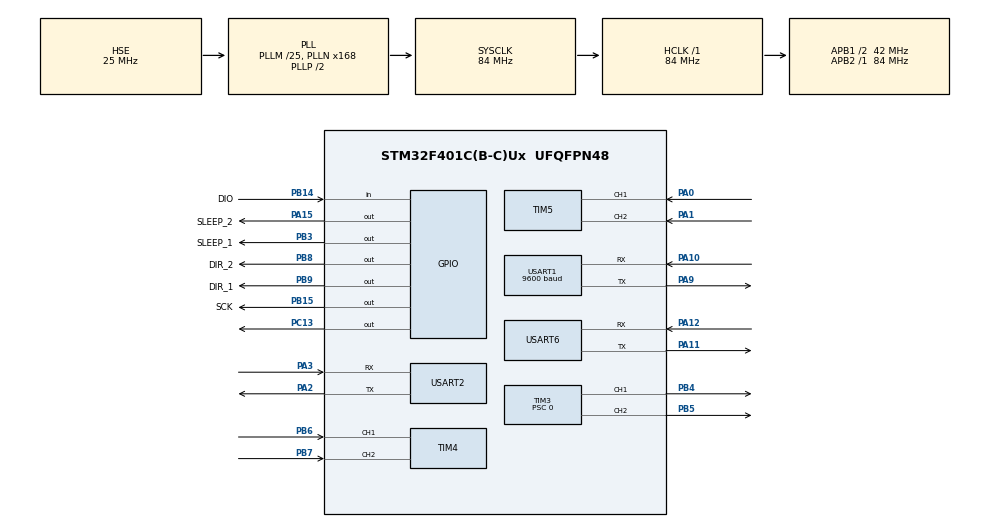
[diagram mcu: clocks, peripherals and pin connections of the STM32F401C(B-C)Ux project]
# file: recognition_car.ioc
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Mcu.Family=STM32F4
Mcu.Name=STM32F401C(B-C)Ux
Mcu.Package=UFQFPN48
NVIC.PriorityGroup=NVIC_PRIORITYGROUP_4
NVIC.TIM1_UP_TIM10_IRQn=true\:3\:0\:true\:false\:true\:true\:true
NVIC.TIM2_IRQn=true\:0\:0\:true\:false\:true\:true\:true
NVIC.USART1_IRQn=true\:5\:0\:true\:false\:true\:true\:true
NVIC.USART2_IRQn=true\:0\:0\:true\:false\:true\:true\:true
NVIC.USART6_IRQn=true\:0\:0\:true\:false\:true\:true\:true
PA0-WKUP.Signal=S_TIM5_CH1
PA1.Signal=S_TIM5_CH2
PA10.Mode=Asynchronous
PA10.Signal=USART1_RX
PA11.Mode=Asynchronous
PA11.Signal=USART6_TX
PA12.Mode=Asynchronous
PA12.Signal=USART6_RX
PA13.Mode=Serial_Wire
PA13.Signal=SYS_JTMS-SWDIO
PA14.Mode=Serial_Wire
PA14.Signal=SYS_JTCK-SWCLK
PA15.GPIO_Label=SLEEP_2
PA15.Signal=GPIO_Output
PA2.Mode=Asynchronous
PA2.Signal=USART2_TX
PA3.Mode=Asynchronous
PA3.Signal=USART2_RX
PA9.Mode=Asynchronous
PA9.Signal=USART1_TX
PB14.GPIO_Label=DIO
PB14.GPIO_PuPd=GPIO_PULLUP
PB14.Signal=GPIO_Input
PB15.GPIO_Label=SCK
PB15.GPIO_Speed=GPIO_SPEED_FREQ_HIGH
PB15.PinState=GPIO_PIN_SET
PB15.Signal=GPIO_Output
PB3.GPIO_Label=SLEEP_1
PB3.Signal=GPIO_Output
PB4.Signal=S_TIM3_CH1
PB5.Signal=S_TIM3_CH2
PB6.Signal=S_TIM4_CH1
PB7.Signal=S_TIM4_CH2
PB8.GPIO_Label=DIR_2
PB8.Signal=GPIO_Output
PB9.GPIO_Label=DIR_1
PB9.Signal=GPIO_Output
PC13-ANTI_TAMP.GPIO_PuPd=GPIO_PULLDOWN
PC13-ANTI_TAMP.Signal=GPIO_Output
PH0\ -\ OSC_IN.Mode=HSE-External-Oscillator
PH0\ -\ OSC_IN.Signal=RCC_OSC_IN
PH1\ -\ OSC_OUT.Mode=HSE-External-Oscillator
PH1\ -\ OSC_OUT.Signal=RCC_OSC_OUT
ProjectManager.HeapSize=0x200
ProjectManager.StackSize=0x400
ProjectManager.TargetToolchain=STM32CubeIDE
RCC.48MHZClocksFreq_Value=42000000
RCC.AHBFreq_Value=84000000
RCC.APB1CLKDivider=RCC_HCLK_DIV2
RCC.APB1Freq_Value=42000000
RCC.APB1TimFreq_Value=84000000
RCC.APB2Freq_Value=84000000
RCC.APB2TimFreq_Value=84000000
RCC.CortexFreq_Value=84000000
RCC.HCLKFreq_Value=84000000
RCC.HSE_VALUE=25000000
RCC.HSI_VALUE=16000000
RCC.LSE_VALUE=32768
RCC.PLLM=25
RCC.PLLN=168
RCC.PLLSourceVirtual=RCC_PLLSOURCE_HSE
RCC.SYSCLKFreq_VALUE=84000000
RCC.SYSCLKSource=RCC_SYSCLKSOURCE_PLLCLK
RCC.VCOOutputFreq_Value=168000000
SH.S_TIM3_CH1.0=TIM3_CH1,PWM Generation1 CH1
SH.S_TIM3_CH2.0=TIM3_CH2,PWM Generation2 CH2
SH.S_TIM4_CH1.0=TIM4_CH1,Encoder_Interface
SH.S_TIM4_CH2.0=TIM4_CH2,Encoder_Interface
SH.S_TIM5_CH1.0=TIM5_CH1,Encoder_Interface
SH.S_TIM5_CH2.0=TIM5_CH2,Encoder_Interface
TIM10.Period=8400-1
TIM10.Prescaler=1000-1
TIM2.Period=8400-1
TIM2.Prescaler=20-1
TIM3.Channel-PWM\ Generation1\ CH1=TIM_CHANNEL_1
TIM3.Channel-PWM\ Generation2\ CH2=TIM_CHANNEL_2
TIM3.Period=8400-1
TIM3.Prescaler=0
USART1.BaudRate=9600
USART1.VirtualMode=VM_ASYNC
USART2.VirtualMode=VM_ASYNC
USART6.VirtualMode=VM_ASYNC
VP_TIM10_VS_ClockSourceINT.Mode=Enable_Timer
VP_TIM2_VS_ClockSourceINT.Mode=Internal
VP_TIM3_VS_ClockSourceINT.Mode=Internal
board=custom

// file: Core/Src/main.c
/* USER CODE BEGIN Header */
/**
  ******************************************************************************
  * @file           : main.c
  * @brief          : Main program body
  ******************************************************************************
  * @attention
  *
  * Copyright (c) 2022 STMicroelectronics.
  * All rights reserved.
  *
  * This software is licensed under terms that can be found in the LICENSE file
  * in the root directory of this software component.
  * If no LICENSE file comes with this software, it is provided AS-IS.
  *
  * @history:
  * version2.0 date4.7
  * K210烧录出现问题
  * 串口的不定长接收（研究一下）和串口接受数据重写（每次接受两个数据）
  * version2.1 date4.9
  * 下次做好开始时引脚命名工作，方便之后的代码对现实的分析
  * version2.2 date 4.10
  * 已完成：第一二三题，第四题计划用编码器解决
  *
  * bug:
  * 1.小车转向90度不准的问题：
  * 要求：转弯后速度要低，转弯停留时间不能太久，负重之后转弯不能变
  * 尝试解决1，转弯的精度要提高，pid降低
  * 尝试解决2，提高POD结算次数
  * 2.小车摇摆，幅度大
  * 尝试解决1，再调一下PID
  ******************************************************************************
  */
/* USER CODE END Header */
#include "main.h"
#include "tim.h"
#include "usart.h"
#include "gpio.h"

/* USER CODE BEGIN Includes */

#include <stdio.h>
#include <stdarg.h>
#include <arithmetic.h>
#include <string.h>
#include "HX711.h"
#include "task.h"

/* USER CODE END Includes */

/* USER CODE BEGIN PTD */

Wheel Car_wheel[2];//两个轮子的结构体
Wheel Car_wheel[2] = {{0, 0, 0, 0, 0, 0, 0, 0, 0, 0, 0, 0, 0},
                      {0, 0, 0, 0, 0, 0, 0, 0, 0, 0, 0, 0, 0}};
//两个轮子结构体的初始化（感觉这样0是不是太多了，应该有更简洁的写法=-=）
Car_station carstaion;
Car_station carstaion ={{0, 0, 0, 0}, {0, 0, 0, 0, 0, 0, 0, 0, 0}};
/* USER CODE END PTD */

/* USER CODE BEGIN PD */

#define Target_distance 80 //80为160像素屏幕宽的中间值

/* USER CODE END PD */

void SystemClock_Config(void);
/* USER CODE BEGIN PFP */

//串口调试
int UART_printf(UART_HandleTypeDef *huart, const char *fmt, ...);
//接受处理函数
void Receive1_treatment(uint8_t rev1_buff);
void Receive2_treatment(uint8_t rev2_buff[10]);
void Receive6_treatment(uint8_t rev6_buff[10]);

uint32_t solve_encode(TIM_HandleTypeDef *htim);

/* USER CODE END PFP */

/* USER CODE BEGIN 0 */

//蓝牙参数
uint8_t Ress=0;
uint8_t uart1_flag_rx_ok = 1;
uint8_t uart1_rx_con=0;
uint8_t uart1_rx_checksum=0;
uint8_t uart1_rx_buf[20];//0-3为校验位，4-9为数据位
//4、5为第一遥感控制，6、7为第二遥感控制
//4、5、6、7、8也为参数调整，方便小车PID调节,或者速度控制

//openmv摄像头数据传送
uint8_t Res=0;//因为串口每次传递一个数据，所以用RES来保存
uint8_t Video_rx_con=0;
uint8_t Video_rx_buf[10];//0-1为校验位，2-8为数据位，9为结尾

//K210数据传输
uint8_t uart6_Res=0;
uint8_t uart6_rx_con=0;
uint8_t uart6_rx_buf[10];//0-1为校验位，2-8为数据位，9为结尾
//16进制给K210发信息
uint8_t Date[3]={0,0,0x00};
int rev6_flag=0;//用来判断K210第一次数据发送到达
int rev6_flag_1=0;//用来判断K210第二次数据发送到达
int rev6_flag_2=0;//用来判断K210第二次数据发送到达

//设定初始值为目标值，保证开始的时候静止
float dirction_distance=Target_distance;

int Turn_around=1;
int turn_date=1;

//编码器参数，因为编码器只有16位，储存的数据容易溢出造成测不准，我们用算法来解决这个问题
uint32_t EncCnt = 100000; //解决TIM4的编码器ARR溢出
uint32_t EncCnt_2 = 100000; //解决TIM5的编码器ARR溢出

//进入PID状态获取
uint16_t pid_flag=1;

uint8_t mode = 0;//0,暂停；1，蓝牙遥控；2，转弯；3，巡线；
uint8_t task = 0;//0,默认停止；1-5，五道题目；

/* USER CODE END 0 */

int main(void)
{

  /* MCU Configuration--------------------------------------------------------*/

  /* Reset of all peripherals, Initializes the Flash interface and the Systick. */
  HAL_Init();

  /* Configure the system clock */
  SystemClock_Config();

  /* Initialize all configured peripherals */
  MX_GPIO_Init();
  MX_TIM3_Init();
  MX_TIM4_Init();
  MX_TIM5_Init();
  MX_USART1_UART_Init();
  MX_USART2_UART_Init();
  MX_TIM2_Init();
  MX_USART6_UART_Init();
  MX_TIM10_Init();
  /* USER CODE BEGIN 2 */

    //外设初始化
    //定时器中断打开
    HAL_TIM_Base_Start_IT(&htim2);//2ms一次，用来获取小车两轮子速度
//    HAL_TIM_Base_Start_IT(&htim10);//100ms一次
    //小车驱动PWM波输出
    HAL_TIM_PWM_Start(&htim3, TIM_CHANNEL_1);
    HAL_TIM_PWM_Start(&htim3, TIM_CHANNEL_2);

    //编码器定时器打开
    HAL_TIM_Encoder_Start(&htim4, TIM_CHANNEL_1);
    HAL_TIM_Encoder_Start(&htim4, TIM_CHANNEL_2);
    HAL_TIM_Encoder_Start(&htim5, TIM_CHANNEL_1);
    HAL_TIM_Encoder_Start(&htim5, TIM_CHANNEL_2);

    //串口中断
    HAL_UART_Receive_IT(&huart1, &Ress, 1);//用来接受蓝牙数据;
    HAL_UART_Receive_IT(&huart2, &Res, 1);//用来接受openmv数据;
    HAL_UART_Receive_IT(&huart6, &uart6_Res, 1);//用来接受K210数据;
  /* USER CODE END 2 */

  /* Infinite loop */
  /* USER CODE BEGIN WHILE */
    motor_init();//电机初始化

    float weight;//药物重量
    while (1) {
    /* USER CODE END WHILE */

    /* USER CODE BEGIN 3 */

    switch (carstaion.car_date[0]) {
            case 0:motor_control(0,0);break;
            case 1:Task_1();break;
            case 2:Task_2();break;
            case 3:Task_3();break;
            case 4:Task_4();break;
            case 5:Task_5();break;
            default:
                motor_control(0,0);
        }

    }
  /* USER CODE END 3 */
}

void SystemClock_Config(void)
{
  RCC_OscInitTypeDef RCC_OscInitStruct = {0};
  RCC_ClkInitTypeDef RCC_ClkInitStruct = {0};

  /** Configure the main internal regulator output voltage
  */
  __HAL_RCC_PWR_CLK_ENABLE();
  __HAL_PWR_VOLTAGESCALING_CONFIG(PWR_REGULATOR_VOLTAGE_SCALE2);
  /** Initializes the RCC Oscillators according to the specified parameters
  * in the RCC_OscInitTypeDef structure.
  */
  RCC_OscInitStruct.OscillatorType = RCC_OSCILLATORTYPE_HSE;
  RCC_OscInitStruct.HSEState = RCC_HSE_ON;
  RCC_OscInitStruct.PLL.PLLState = RCC_PLL_ON;
  RCC_OscInitStruct.PLL.PLLSource = RCC_PLLSOURCE_HSE;
  RCC_OscInitStruct.PLL.PLLM = 25;
  RCC_OscInitStruct.PLL.PLLN = 168;
  RCC_OscInitStruct.PLL.PLLP = RCC_PLLP_DIV2;
  RCC_OscInitStruct.PLL.PLLQ = 4;
  if (HAL_RCC_OscConfig(&RCC_OscInitStruct) != HAL_OK)
  {
    Error_Handler();
  }
  /** Initializes the CPU, AHB and APB buses clocks
  */
  RCC_ClkInitStruct.ClockType = RCC_CLOCKTYPE_HCLK|RCC_CLOCKTYPE_SYSCLK
                              |RCC_CLOCKTYPE_PCLK1|RCC_CLOCKTYPE_PCLK2;
  RCC_ClkInitStruct.SYSCLKSource = RCC_SYSCLKSOURCE_PLLCLK;
  RCC_ClkInitStruct.AHBCLKDivider = RCC_SYSCLK_DIV1;
  RCC_ClkInitStruct.APB1CLKDivider = RCC_HCLK_DIV2;
  RCC_ClkInitStruct.APB2CLKDivider = RCC_HCLK_DIV1;

  if (HAL_RCC_ClockConfig(&RCC_ClkInitStruct, FLASH_LATENCY_2) != HAL_OK)
  {
    Error_Handler();
  }
}

/* USER CODE BEGIN 4 */
//串口重定向
int UART_printf(UART_HandleTypeDef *huart, const char *fmt, ...)
{
    va_list ap;
    va_start(ap, fmt);
    int length;
    char buffer[128];
    length = vsnprintf(buffer, 128, fmt, ap);
    HAL_UART_Transmit(huart, (uint8_t *)buffer, length, HAL_MAX_DELAY);
    va_end(ap);
    return length;
}

//串口中断
void HAL_UART_RxCpltCallback(UART_HandleTypeDef *huart) {
    if (huart->Instance == USART1) {
        Receive1_treatment(Ress);
        HAL_UART_Receive_IT(&huart1, &Ress, 1);
    }
    if (huart->Instance == USART2) {

        if (Video_rx_con >= 10)  //溢出判断
        {
            Video_rx_con = 0;
            memset(Video_rx_buf, 0x00, sizeof(Video_rx_buf));
        } else {
            Video_rx_buf[Video_rx_con++] = Res;
            if (Video_rx_buf[5] == 0x5B && Video_rx_buf[0] == 0X2C) {

                Receive2_treatment(Video_rx_buf);

                Video_rx_con = 0;
                memset(Video_rx_buf, 0x00, sizeof(Video_rx_buf));
            }
        }
        HAL_UART_Receive_IT(&huart2, &Res, 1);
    }
    if (huart->Instance == USART6) {
        if (uart6_rx_con >= 10)  //溢出判断
            {
            uart6_rx_con = 0;
            memset(uart6_rx_buf, 0x00, sizeof(uart6_rx_buf));
            } else {
            uart6_rx_buf[uart6_rx_con++] = uart6_Res;
            if (uart6_rx_buf[uart6_rx_con - 1] == 0x5B) {//结束位判断

                Receive6_treatment(uart6_rx_buf);

                uart6_rx_con = 0;
                memset(uart6_rx_buf, 0x00, sizeof(uart6_rx_buf));
            }
        }
        HAL_UART_Receive_IT(&huart6, &uart6_Res, 1);
    }
}

void HAL_TIM_PeriodElapsedCallback(TIM_HandleTypeDef *htim)
{
    if(htim==&htim2){//2ms一次

        //解决TIM4编码器CNT溢出
        static int encoder_1[2] = {0, 0};// 两次编码器读值，用以计算溢出方向
        static int N_1 = 0;// 圈数
        encoder_1[1] = TIM5->CNT;
        if ((encoder_1[1] - encoder_1[0]) > 0x7FFF) {
            N_1--;
        } else if ((encoder_1[0] - encoder_1[1]) > 0x7FFF) {
            N_1++;
        }
        EncCnt = N_1 * 0xFFFF + encoder_1[1]+100000;
        encoder_1[0] = encoder_1[1];

        //解决TIM5编码器CNT溢出
        static int encoder_2[2] = {0, 0};// 两次编码器读值，用以计算溢出方向
        static int N_2 = 0;// 圈数
        encoder_2[1] = TIM4->CNT;
        if ((encoder_2[1] - encoder_2[0]) > 0x7FFF) {
            N_2--;
        } else if ((encoder_2[0] - encoder_2[1]) > 0x7FFF) {
            N_2++;
        }
        EncCnt_2 = N_2 * 0xFFFF + encoder_2[1] + 100000;
        encoder_2[0] = encoder_2[1];

        //每获得一次速度后进行一次pid解算
        pid_flag=0;

        //获得当前一号轮子的速度
        Car_wheel[0].CNT_prevalue=Car_wheel[0].value;
        Car_wheel[0].current_speed=(EncCnt*1.0f-Car_wheel[0].CNT_prevalue)*500/(13*4);
        Car_wheel[0].value=EncCnt*1.0f;

        //获得当前二号轮子的速度
        Car_wheel[1].CNT_prevalue=Car_wheel[1].value;
        Car_wheel[1].current_speed=(EncCnt_2*1.0f-Car_wheel[1].CNT_prevalue)*500/(13*4);
        Car_wheel[1].value=EncCnt_2*1.0f;
        //公式应该是：
        // （CNT2-CNT1）*计数器溢出频率/（编码器线数*采集边沿数）
        //PS：因为设置了TI1和TI2共同采样，所以采集边沿为4个。

//        UART_printf(&huart6, "%.2f\n",Car_wheel[0].current_speed);

    }
    if(htim==&htim10){//100ms一次

    }
}

uint32_t solve_encode(TIM_HandleTypeDef *htim){
    static uint32_t encoder_1[2] = {0, 0};// 两次编码器读值，用以计算溢出方向
    static int N_1 = 0;// 圈数
    encoder_1[1] = htim->Instance->CNT;
    if ((encoder_1[1] - encoder_1[0]) > 0x7FFF) {
        N_1--;
    } else if ((encoder_1[0] - encoder_1[1]) > 0x7FFF) {
        N_1++;
    }
    EncCnt = N_1 * 0xFFFF + encoder_1[1];
    encoder_1[0] = encoder_1[1];
    return EncCnt;
}

void Receive1_treatment(uint8_t rev1_buff){
    rev1_buff=rev1_buff-48;
    if(rev1_buff<=10){
        carstaion.car_date[0]= rev1_buff;
        turn_date= 1;
    }
    if(rev1_buff==6){
        carstaion.car_date[0]=1;
        turn_date=-1;
    }
    if(rev1_buff==7){
        carstaion.car_date[0]=2;
        turn_date=-1;
    }
}
void Receive2_treatment(uint8_t rev2_buff[10]){
    if (rev2_buff[2] == 2) {
        carstaion.car_mode[0] = 1;
    } else if (rev2_buff[2] == 4) {
        carstaion.car_mode[1] = 1;
    } else {
        carstaion.car_mode[2] = 1;
    }

    //获取中心距离差，并映射到0-160;
    carstaion.car_date[1] = rev2_buff[3];
    dirction_distance = 1.0f * carstaion.car_date[1] * 80 / 32;
    //获取十字路口数
    carstaion.car_date[4] = rev2_buff[4];
}
void Receive6_treatment(uint8_t rev6_buff[10]){
    rev6_flag=1;
    carstaion.car_date[2]=rev6_buff[0];
    carstaion.car_date[3]=rev6_buff[1];
    UART_printf(&huart1,"%d,%d\n",carstaion.car_date[2],carstaion.car_date[3]);
}
//if (huart->Instance == USART1) {
//    if (uart1_rx_con < 3) {
//        if (uart1_rx_con == 0) {
//            if (Ress == 0xAA) {
//                uart1_rx_buf[0] = Ress;
//                uart1_rx_con = 1;
//            } else {
//                uart1_rx_con = 0;
//            }
//        } else if (uart1_rx_con == 1) {
//            if (Ress == 0x55) {
//                uart1_rx_buf[1] = Ress;
//                uart1_rx_con = 2;
//            } else {
//                uart1_rx_con = 0;
//            }
//        } else {
//            uart1_rx_buf[2] = Ress;
//            uart1_rx_con = 3;
//            uart1_rx_checksum = (0xAA + 0x55) + Ress;
//        }
//    }
//    else {
//        if (uart1_rx_con < (uart1_rx_buf[2] - 1)) {
//            uart1_rx_buf[uart1_rx_con] = Ress;
//            uart1_rx_con++;
//            uart1_rx_checksum = uart1_rx_checksum + Ress;
//        }
//        else {
//            if (Ress == uart1_rx_checksum) {
//                uart1_flag_rx_ok = 1;
//
//                Receive1_treatment(uart1_rx_buf);
//
//                uart1_rx_con = 0;
//            }
//        }
//    }
//    HAL_UART_Receive_IT(&huart1, &Ress, 1);
//}
///* USER CODE END 4 */

void Error_Handler(void)
{
  __disable_irq();
  while (1)
  {
  }
}
